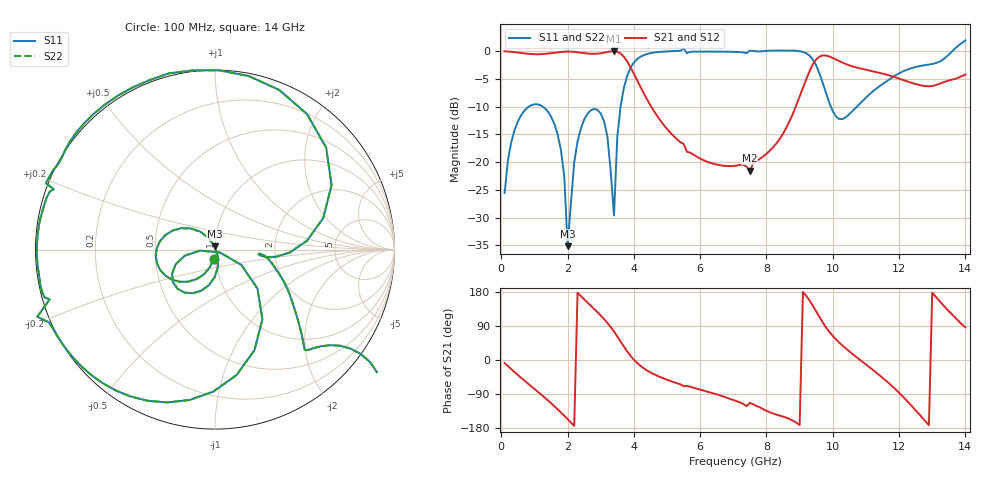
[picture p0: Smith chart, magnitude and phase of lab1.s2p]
! AWR Design Environment (10088) Wed Apr 14 22:55:00 2021
! Document = 'EM Structure'
! nPorts: 2, nXvals: 141
# GHz S DB R 50
!Freq DBS11 AngS11 DBS21 AngS21 DBS12 AngS12 DBS22 AngS22
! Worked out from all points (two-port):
!   140 points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, 100 MHz to 14 GHz, reference 50 ohm
!   highest |S21| = 0.01 dB at 3.4 GHz (marker M1); lowest = -21.5 dB at 7.5 GHz (marker M2)
!   |S21| within 3 dB of the highest: start of sweep to 3.908 GHz; 9.349 GHz to 10.75 GHz (1.4 GHz wide, 13.9 % of centre)
!   lowest |S11| = -35.1 dB at 2 GHz (marker M3), VSWR 1.04, Z = 49.8 + j1.74 ohm
!   |S11| at or under -10 dB: start of sweep to 830.4 MHz; 1.255 GHz to 3.598 GHz (2.343 GHz wide, 96.6 % of centre); 9.943 GHz to 10.73 GHz (782.6 MHz wide, 7.57 % of centre)
!   |S22| runs from -35.3 to 2.0 dB; largest |S21 - S12| = 0
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0.1  -25.56 -98.1  -0.01 -8.1  -0.01 -8.1  -25.56 -98.1
0.5  -12.66 -129.9  -0.24 -39.7  -0.24 -39.7  -12.66 -129.8
1.3  -10.18 171.1  -0.49 -98.5  -0.49 -98.5  -10.18 171.2
1.8  -17.85 129.1  -0.13 -138.6  -0.13 -138.6  -17.85 129.4
2  -35.15 94.1  -0.07 -156.1  -0.07 -156.1  -35.26 96.3
2.2  -20.04 -80.5  -0.12 -173.8  -0.12 -173.8  -20.05 -80.9
2.5  -12.32 -108.5  -0.35 160.1  -0.35 160.1  -12.32 -108.7
3.1  -12.62 -159.5  -0.27 108.0  -0.27 108.0  -12.62 -159.5
3.4  -29.60 -29.8  0.01 75.0  0.01 75.0  -29.59 -30.1
3.5  -15.39 -30.2  -0.10 62.1  -0.10 62.1  -15.39 -30.3
3.8  -4.40 -68.6  -1.86 22.4  -1.86 22.4  -4.40 -68.6
4.2  -0.99 -107.3  -6.45 -15.6  -6.45 -15.6  -0.99 -107.4
4.8  -0.11 -138.1  -12.50 -45.2  -12.50 -45.2  -0.11 -138.1
7.1  -0.14 165.4  -20.61 -108.7  -20.61 -108.7  -0.14 165.4
7.5  0.11 158.5  -21.55 -113.1  -21.55 -113.1  0.11 158.6
8.9  0.05 97.1  -9.73 -165.3  -9.73 -165.3  0.05 97.1
9.4  -1.51 42.5  -2.37 143.0  -2.37 143.0  -1.51 42.5
9.8  -7.61 -2.3  -0.79 85.4  -0.79 85.4  -7.61 -2.2
10.3  -12.21 -5.3  -2.06 37.5  -2.06 37.5  -12.20 -5.3
11.7  -5.11 -37.0  -4.34 -61.8  -4.34 -61.8  -5.08 -37.0
12.9  -2.42 -47.7  -6.32 -172.1  -6.32 -172.1  -2.41 -47.7
14  1.94 -40.5  -4.21 86.1  -4.21 86.1  1.95 -40.6
